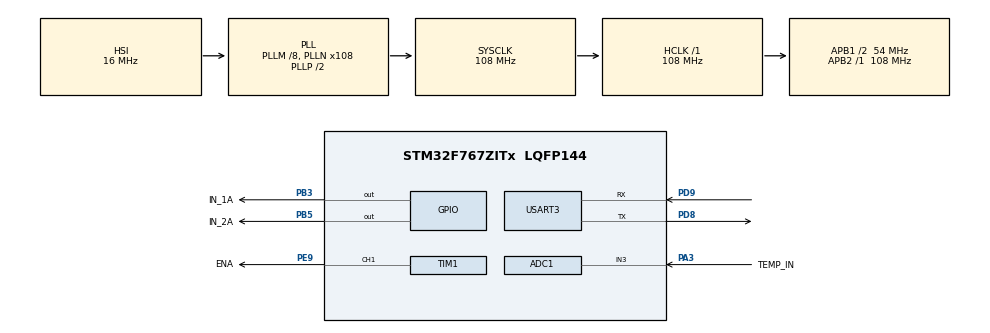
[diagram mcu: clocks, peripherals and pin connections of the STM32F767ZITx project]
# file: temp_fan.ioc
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ADC1.Channel-0\#ChannelRegularConversion=ADC_CHANNEL_3
ADC1.NbrOfConversionFlag=1
ADC1.Rank-0\#ChannelRegularConversion=1
ADC1.SamplingTime-0\#ChannelRegularConversion=ADC_SAMPLETIME_15CYCLES
ADC1.master=1
Mcu.Family=STM32F7
Mcu.Name=STM32F767ZITx
Mcu.Package=LQFP144
NVIC.PriorityGroup=NVIC_PRIORITYGROUP_4
PA3.GPIO_Label=TEMP_IN
PA3.Signal=ADCx_IN3
PB3.GPIO_Label=IN_1A
PB3.Signal=GPIO_Output
PB5.GPIO_Label=IN_2A
PB5.Signal=GPIO_Output
PD8.Mode=Asynchronous
PD8.Signal=USART3_TX
PD9.Mode=Asynchronous
PD9.Signal=USART3_RX
PE9.GPIO_Label=ENA
PE9.Signal=S_TIM1_CH1
PH0/OSC_IN.Mode=HSE-External-Oscillator
PH0/OSC_IN.Signal=RCC_OSC_IN
PH1/OSC_OUT.Mode=HSE-External-Oscillator
PH1/OSC_OUT.Signal=RCC_OSC_OUT
ProjectManager.HeapSize=0x200
ProjectManager.StackSize=0x400
ProjectManager.TargetToolchain=STM32CubeIDE
RCC.48MHZClocksFreq_Value=24000000
RCC.AHBFreq_Value=108000000
RCC.APB1CLKDivider=RCC_HCLK_DIV2
RCC.APB1Freq_Value=54000000
RCC.APB1TimFreq_Value=108000000
RCC.APB2Freq_Value=108000000
RCC.APB2TimFreq_Value=108000000
RCC.CortexFreq_Value=108000000
RCC.HCLKFreq_Value=108000000
RCC.HSE_VALUE=8000000
RCC.HSI_VALUE=16000000
RCC.LSE_VALUE=32768
RCC.PLLM=8
RCC.PLLMUL=RCC_PLL_MUL9
RCC.PLLN=108
RCC.PRESCALERUSB=RCC_USBCLKSOURCE_PLL_DIV1_5
RCC.SYSCLKFreq_VALUE=108000000
RCC.SYSCLKSource=RCC_SYSCLKSOURCE_PLLCLK
RCC.SYSCLKSourceVirtual=RCC_SYSCLKSOURCE_PLLCLK
RCC.USBFreq_Value=108000000
RCC.VCOOutputFreq_Value=216000000
SH.ADCx_IN3.0=ADC1_IN3,IN3
SH.S_TIM1_CH1.0=TIM1_CH1,PWM Generation1 CH1
TIM1.Channel-PWM\ Generation1\ CH1=TIM_CHANNEL_1
TIM1.Period=999
TIM1.Prescaler=108-1
USART3.VirtualMode-Asynchronous=VM_ASYNC
VP_TIM1_VS_ClockSourceINT.Mode=Internal
board=NUCLEO-F767ZI

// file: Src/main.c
/* USER CODE BEGIN Header */
/**
  ******************************************************************************
  * @file           : main.c
  * @brief          : Main program body
  ******************************************************************************
  * @attention
  *
  * Copyright (c) 2025 STMicroelectronics.
  * All rights reserved.
  *
  * This software is licensed under terms that can be found in the LICENSE file
  * in the root directory of this software component.
  * If no LICENSE file comes with this software, it is provided AS-IS.
  *
  ******************************************************************************
  */
/* USER CODE END Header */
#include "main.h"

/* USER CODE BEGIN Includes */
#include <string.h>
#include <stdio.h>
/* USER CODE END Includes */

ADC_HandleTypeDef hadc1;

TIM_HandleTypeDef htim1;

UART_HandleTypeDef huart3;

/* USER CODE BEGIN PV */
uint32_t motor_speed = 0; // 0 to 999 (Counter Period value)
/* USER CODE END PV */

void SystemClock_Config(void);
static void MX_GPIO_Init(void);
static void MX_TIM1_Init(void);
static void MX_ADC1_Init(void);
static void MX_USART3_UART_Init(void);

/* USER CODE BEGIN 0 */
uint32_t map_temperature_to_pwm(float temp_c) {
    float temp_min = 25.0;
    float temp_max = 40.0;
    uint32_t pwm_min = 300;   // ~20% duty
    uint32_t pwm_max = 900;   // ~90% duty

    // Clamp temp to bounds
    if (temp_c < temp_min) temp_c = temp_min;
    if (temp_c > temp_max) temp_c = temp_max;

    // Linear mapping
    float ratio = (temp_c - temp_min) / (temp_max - temp_min);
    return pwm_min + (uint32_t)((pwm_max - pwm_min) * ratio);
}
/* USER CODE END 0 */

int main(void)
{

  /* USER CODE BEGIN 1 */
    uint32_t adc_value = 0;
    float voltage = 0.0;
    float temp = 0.0;
  /* USER CODE END 1 */

  /* MCU Configuration--------------------------------------------------------*/

  /* Reset of all peripherals, Initializes the Flash interface and the Systick. */
  HAL_Init();

  /* Configure the system clock */
  SystemClock_Config();

  /* Initialize all configured peripherals */
  MX_GPIO_Init();
  MX_TIM1_Init();
  MX_ADC1_Init();
  MX_USART3_UART_Init();
  /* USER CODE BEGIN 2 */
  HAL_TIM_PWM_Start(&htim1, TIM_CHANNEL_1);  // Note that htim1 is the handle generated by CubeMX for TIM1
  char transmit_buffer[100];
  uint8_t timeout = 100;
  /* USER CODE END 2 */

  /* Infinite loop */
  while (1)
  {

    /* USER CODE BEGIN 3 */

    HAL_ADC_Start(&hadc1); // Start ADC conversion
    HAL_ADC_PollForConversion(&hadc1, HAL_MAX_DELAY); // Wait for conversion to complete
    adc_value = HAL_ADC_GetValue(&hadc1); // Get the converted value

    // Convert ADC value to voltage
    // V_ref is 3.3V and 12-bit resolution (4096 levels)
    voltage = (float)adc_value * (3.3f / 4095.0f);

    temp = (voltage - 0.5) * 100.0; // Convert voltage to temperature

    HAL_UART_Transmit(&huart3, (uint8_t*)transmit_buffer, strlen(transmit_buffer), timeout);
    HAL_Delay(100); // Small delay

    // Set Direction (IN_1A HIGH, IN_2A LOW)
    HAL_GPIO_WritePin(IN_1A_GPIO_Port, IN_1A_Pin, GPIO_PIN_SET);
    HAL_GPIO_WritePin(IN_2A_GPIO_Port, IN_2A_Pin, GPIO_PIN_RESET);
    // Set slow speed, let's say ~25% duty cycle
    uint32_t duty = map_temperature_to_pwm(temp);
    __HAL_TIM_SET_COMPARE(&htim1, TIM_CHANNEL_1, duty);
        sprintf(transmit_buffer, "ADC Value: %lu, Voltage: %.2f V, temp: %.2f , duty cycle: %lu \r\n", adc_value, voltage, temp, duty);
    HAL_Delay(2000);

  }
  /* USER CODE END 3 */
}

void SystemClock_Config(void)
{
  RCC_OscInitTypeDef RCC_OscInitStruct = {0};
  RCC_ClkInitTypeDef RCC_ClkInitStruct = {0};

  /** Configure the main internal regulator output voltage
  */
  __HAL_RCC_PWR_CLK_ENABLE();
  __HAL_PWR_VOLTAGESCALING_CONFIG(PWR_REGULATOR_VOLTAGE_SCALE3);

  /** Initializes the RCC Oscillators according to the specified parameters
  * in the RCC_OscInitTypeDef structure.
  */
  RCC_OscInitStruct.OscillatorType = RCC_OSCILLATORTYPE_HSI;
  RCC_OscInitStruct.HSIState = RCC_HSI_ON;
  RCC_OscInitStruct.HSICalibrationValue = RCC_HSICALIBRATION_DEFAULT;
  RCC_OscInitStruct.PLL.PLLState = RCC_PLL_ON;
  RCC_OscInitStruct.PLL.PLLSource = RCC_PLLSOURCE_HSI;
  RCC_OscInitStruct.PLL.PLLM = 8;
  RCC_OscInitStruct.PLL.PLLN = 108;
  RCC_OscInitStruct.PLL.PLLP = RCC_PLLP_DIV2;
  RCC_OscInitStruct.PLL.PLLQ = 2;
  RCC_OscInitStruct.PLL.PLLR = 2;
  if (HAL_RCC_OscConfig(&RCC_OscInitStruct) != HAL_OK)
  {
    Error_Handler();
  }

  /** Activate the Over-Drive mode
  */
  if (HAL_PWREx_EnableOverDrive() != HAL_OK)
  {
    Error_Handler();
  }

  /** Initializes the CPU, AHB and APB buses clocks
  */
  RCC_ClkInitStruct.ClockType = RCC_CLOCKTYPE_HCLK|RCC_CLOCKTYPE_SYSCLK
                              |RCC_CLOCKTYPE_PCLK1|RCC_CLOCKTYPE_PCLK2;
  RCC_ClkInitStruct.SYSCLKSource = RCC_SYSCLKSOURCE_PLLCLK;
  RCC_ClkInitStruct.AHBCLKDivider = RCC_SYSCLK_DIV1;
  RCC_ClkInitStruct.APB1CLKDivider = RCC_HCLK_DIV2;
  RCC_ClkInitStruct.APB2CLKDivider = RCC_HCLK_DIV1;

  if (HAL_RCC_ClockConfig(&RCC_ClkInitStruct, FLASH_LATENCY_3) != HAL_OK)
  {
    Error_Handler();
  }
}

static void MX_ADC1_Init(void)
{

  ADC_ChannelConfTypeDef sConfig = {0};

  /** Configure the global features of the ADC (Clock, Resolution, Data Alignment and number of conversion)
  */
  hadc1.Instance = ADC1;
  hadc1.Init.ClockPrescaler = ADC_CLOCK_SYNC_PCLK_DIV4;
  hadc1.Init.Resolution = ADC_RESOLUTION_12B;
  hadc1.Init.ScanConvMode = ADC_SCAN_DISABLE;
  hadc1.Init.ContinuousConvMode = DISABLE;
  hadc1.Init.DiscontinuousConvMode = DISABLE;
  hadc1.Init.ExternalTrigConvEdge = ADC_EXTERNALTRIGCONVEDGE_NONE;
  hadc1.Init.ExternalTrigConv = ADC_SOFTWARE_START;
  hadc1.Init.DataAlign = ADC_DATAALIGN_RIGHT;
  hadc1.Init.NbrOfConversion = 1;
  hadc1.Init.DMAContinuousRequests = DISABLE;
  hadc1.Init.EOCSelection = ADC_EOC_SINGLE_CONV;
  if (HAL_ADC_Init(&hadc1) != HAL_OK)
  {
    Error_Handler();
  }

  /** Configure for the selected ADC regular channel its corresponding rank in the sequencer and its sample time.
  */
  sConfig.Channel = ADC_CHANNEL_3;
  sConfig.Rank = ADC_REGULAR_RANK_1;
  sConfig.SamplingTime = ADC_SAMPLETIME_15CYCLES;
  if (HAL_ADC_ConfigChannel(&hadc1, &sConfig) != HAL_OK)
  {
    Error_Handler();
  }

}

static void MX_TIM1_Init(void)
{

  TIM_ClockConfigTypeDef sClockSourceConfig = {0};
  TIM_MasterConfigTypeDef sMasterConfig = {0};
  TIM_OC_InitTypeDef sConfigOC = {0};
  TIM_BreakDeadTimeConfigTypeDef sBreakDeadTimeConfig = {0};

  htim1.Instance = TIM1;
  htim1.Init.Prescaler = 108-1;
  htim1.Init.CounterMode = TIM_COUNTERMODE_UP;
  htim1.Init.Period = 999;
  htim1.Init.ClockDivision = TIM_CLOCKDIVISION_DIV1;
  htim1.Init.RepetitionCounter = 0;
  htim1.Init.AutoReloadPreload = TIM_AUTORELOAD_PRELOAD_DISABLE;
  if (HAL_TIM_Base_Init(&htim1) != HAL_OK)
  {
    Error_Handler();
  }
  sClockSourceConfig.ClockSource = TIM_CLOCKSOURCE_INTERNAL;
  if (HAL_TIM_ConfigClockSource(&htim1, &sClockSourceConfig) != HAL_OK)
  {
    Error_Handler();
  }
  if (HAL_TIM_PWM_Init(&htim1) != HAL_OK)
  {
    Error_Handler();
  }
  sMasterConfig.MasterOutputTrigger = TIM_TRGO_RESET;
  sMasterConfig.MasterOutputTrigger2 = TIM_TRGO2_RESET;
  sMasterConfig.MasterSlaveMode = TIM_MASTERSLAVEMODE_DISABLE;
  if (HAL_TIMEx_MasterConfigSynchronization(&htim1, &sMasterConfig) != HAL_OK)
  {
    Error_Handler();
  }
  sConfigOC.OCMode = TIM_OCMODE_PWM1;
  sConfigOC.Pulse = 0;
  sConfigOC.OCPolarity = TIM_OCPOLARITY_HIGH;
  sConfigOC.OCNPolarity = TIM_OCNPOLARITY_HIGH;
  sConfigOC.OCFastMode = TIM_OCFAST_DISABLE;
  sConfigOC.OCIdleState = TIM_OCIDLESTATE_RESET;
  sConfigOC.OCNIdleState = TIM_OCNIDLESTATE_RESET;
  if (HAL_TIM_PWM_ConfigChannel(&htim1, &sConfigOC, TIM_CHANNEL_1) != HAL_OK)
  {
    Error_Handler();
  }
  sBreakDeadTimeConfig.OffStateRunMode = TIM_OSSR_DISABLE;
  sBreakDeadTimeConfig.OffStateIDLEMode = TIM_OSSI_DISABLE;
  sBreakDeadTimeConfig.LockLevel = TIM_LOCKLEVEL_OFF;
  sBreakDeadTimeConfig.DeadTime = 0;
  sBreakDeadTimeConfig.BreakState = TIM_BREAK_DISABLE;
  sBreakDeadTimeConfig.BreakPolarity = TIM_BREAKPOLARITY_HIGH;
  sBreakDeadTimeConfig.BreakFilter = 0;
  sBreakDeadTimeConfig.Break2State = TIM_BREAK2_DISABLE;
  sBreakDeadTimeConfig.Break2Polarity = TIM_BREAK2POLARITY_HIGH;
  sBreakDeadTimeConfig.Break2Filter = 0;
  sBreakDeadTimeConfig.AutomaticOutput = TIM_AUTOMATICOUTPUT_DISABLE;
  if (HAL_TIMEx_ConfigBreakDeadTime(&htim1, &sBreakDeadTimeConfig) != HAL_OK)
  {
    Error_Handler();
  }
  HAL_TIM_MspPostInit(&htim1);

}

static void MX_USART3_UART_Init(void)
{

  huart3.Instance = USART3;
  huart3.Init.BaudRate = 115200;
  huart3.Init.WordLength = UART_WORDLENGTH_8B;
  huart3.Init.StopBits = UART_STOPBITS_1;
  huart3.Init.Parity = UART_PARITY_NONE;
  huart3.Init.Mode = UART_MODE_TX_RX;
  huart3.Init.HwFlowCtl = UART_HWCONTROL_NONE;
  huart3.Init.OverSampling = UART_OVERSAMPLING_16;
  huart3.Init.OneBitSampling = UART_ONE_BIT_SAMPLE_DISABLE;
  huart3.AdvancedInit.AdvFeatureInit = UART_ADVFEATURE_NO_INIT;
  if (HAL_UART_Init(&huart3) != HAL_OK)
  {
    Error_Handler();
  }

}

static void MX_GPIO_Init(void)
{
  GPIO_InitTypeDef GPIO_InitStruct = {0};

  /* GPIO Ports Clock Enable */
  __HAL_RCC_GPIOH_CLK_ENABLE();
  __HAL_RCC_GPIOA_CLK_ENABLE();
  __HAL_RCC_GPIOE_CLK_ENABLE();
  __HAL_RCC_GPIOD_CLK_ENABLE();
  __HAL_RCC_GPIOB_CLK_ENABLE();

  /*Configure GPIO pin Output Level */
  HAL_GPIO_WritePin(GPIOB, IN_1A_Pin|IN_2A_Pin, GPIO_PIN_RESET);

  /*Configure GPIO pins : IN_1A_Pin IN_2A_Pin */
  GPIO_InitStruct.Pin = IN_1A_Pin|IN_2A_Pin;
  GPIO_InitStruct.Mode = GPIO_MODE_OUTPUT_PP;
  GPIO_InitStruct.Pull = GPIO_NOPULL;
  GPIO_InitStruct.Speed = GPIO_SPEED_FREQ_LOW;
  HAL_GPIO_Init(GPIOB, &GPIO_InitStruct);

}

void Error_Handler(void)
{
  __disable_irq();
  while (1)
  {
  }
}
